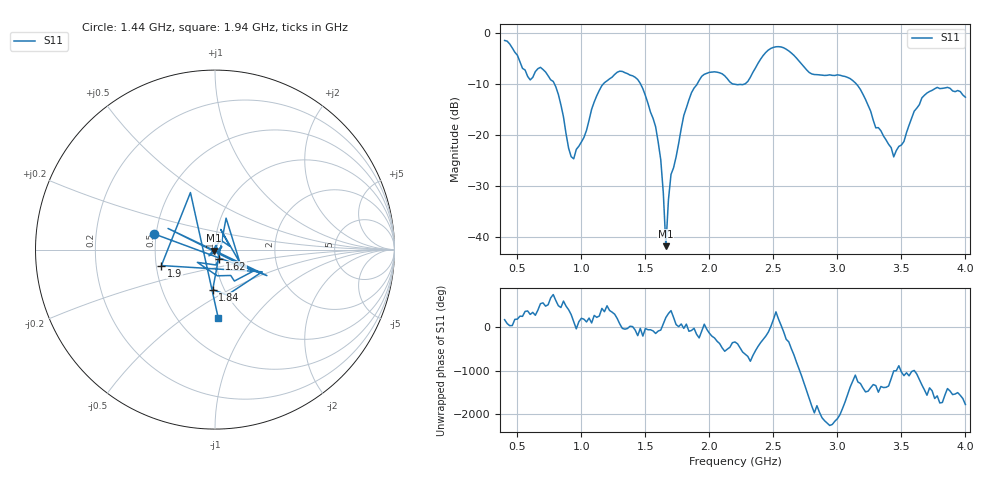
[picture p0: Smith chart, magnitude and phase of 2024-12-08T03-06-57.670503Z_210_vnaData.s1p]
!Created with skrf (http://scikit-rf.org).
# Hz S RI R 50.0
!freq ReS11 ImS11
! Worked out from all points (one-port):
!   181 points, 400 MHz to 4 GHz, reference 50 ohm
!   lowest |S11| = -41.7 dB at 1.66 GHz (marker M1), VSWR 1.02, Z = 49.4 - j0.562 ohm
!   |S11| at or under -10 dB: 790.9 MHz to 1.168 GHz (377.5 MHz wide, 38.5 % of centre); 1.464 GHz to 1.903 GHz (439.1 MHz wide, 26.1 % of centre); 3.15 GHz to end of sweep (the widest 3 of 4)
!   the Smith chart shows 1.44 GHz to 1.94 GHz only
!   S11 on the Smith chart (normalised r, x): 1.44 GHz: 0.48, +0.10; 1.62 GHz: 1.04, -0.11; 1.84 GHz: 0.88, -0.41; 1.9 GHz: 0.53, -0.10; 1.94 GHz: 0.77, -0.68
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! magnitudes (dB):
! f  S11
! 400 MHz  -1.4
! 600 MHz  -9.1
! 680 MHz  -6.7
! 780 MHz  -9.4
! 860 MHz  -16.4
! 900 MHz  -22.5
! 940 MHz  -24.6
! 1.14 GHz  -11.2
! 1.3 GHz  -7.4
! 1.44 GHz  -9.0
! 1.58 GHz  -18.3
! 1.62 GHz  -24.8
! 1.66 GHz  -41.7
! 1.68 GHz  -32.6
! 1.7 GHz  -27.7
! 1.76 GHz  -21.6
! 1.84 GHz  -13.0
! 1.9 GHz  -10.1
! 1.94 GHz  -8.4
! 2.2 GHz  -10.0
! 2.48 GHz  -2.9
! 2.66 GHz  -4.3
! 2.8 GHz  -8.0
! 3.1 GHz  -8.9
! 3.44 GHz  -24.2
! 3.56 GHz  -18.0
! 3.78 GHz  -10.6
! 4 GHz  -12.5
